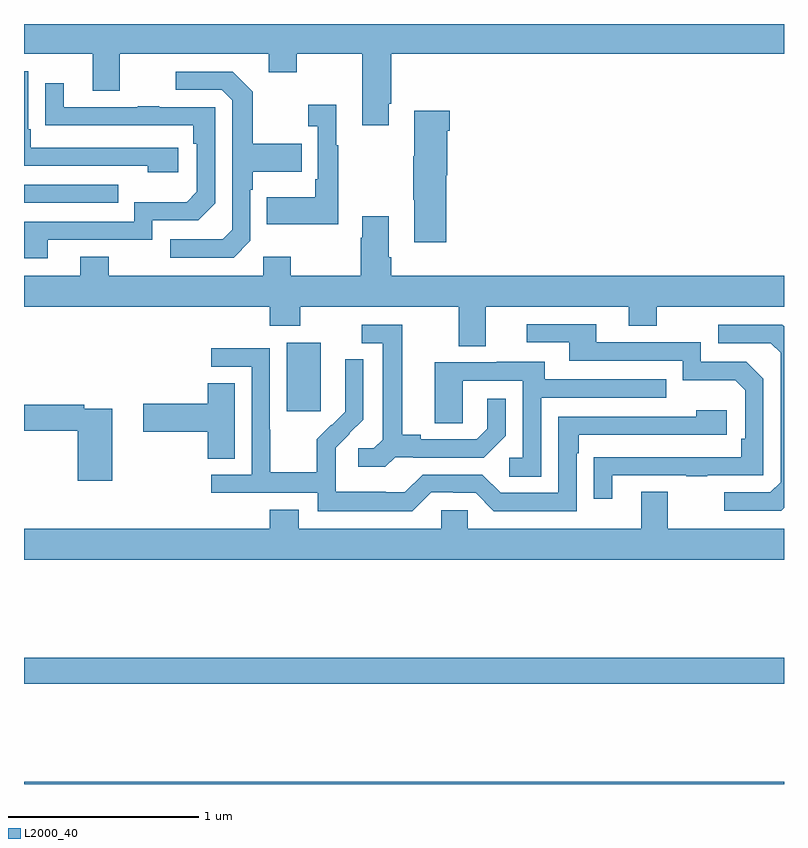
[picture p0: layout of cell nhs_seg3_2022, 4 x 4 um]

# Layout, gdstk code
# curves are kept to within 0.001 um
import gdstk
lib = gdstk.Library(unit=1e-6, precision=1e-09)
def R(c, l, rs):  # rectangles x0, y0, x1, y1
    for r in rs: c.add(gdstk.rectangle(r[:2], r[2:], *l))
def P(c, l, *ps):  # polygons
    for p in ps: c.add(gdstk.Polygon(p, *l))
L2000_40 = (2000, 40)

nhs_seg3_2022 = lib.new_cell('nhs_seg3_2022')
R(nhs_seg3_2022, L2000_40, [(215,702.4,219,702.412), (215,702.928,219,703.064), (216.383,704.361,216.562,704.722), (215,705.459,215.495,705.555)])
P(nhs_seg3_2022, L2000_40, [(215,706.244),(215.363,706.244),(215.363,706.05),(215.503,706.05),(215.503,706.244),(216.287,706.244),(216.287,706.145),(216.435,706.145),(216.435,706.244),(216.779,706.244),(216.779,705.867),(216.919,705.867),(216.919,705.979),(216.932,705.979),(216.932,706.244),(219,706.244),(219,706.4),(215,706.4)],
  [(215.812,705.75),(215.035,705.75),(215.035,705.847),(215.022,705.847),(215.022,706.152),(215,706.152),(215,705.654),(215.651,705.654),(215.651,705.62),(215.812,705.62)],
  [(216.192,705.258),(216.192,705.527),(216.205,705.527),(216.205,705.623),(216.461,705.623),(216.461,705.771),(216.205,705.771),(216.205,706.043),(216.099,706.149),(215.799,706.149),(215.799,706.053),(216.042,706.053),(216.096,705.999),(216.096,705.318),(216.045,705.267),(215.769,705.267),(215.769,705.171),(216.105,705.171)],
  [(215.125,705.264),(215.676,705.264),(215.676,705.366),(215.916,705.366),(216.006,705.456),(216.006,705.963),(215.711,705.963),(215.711,705.968),(215.599,705.968),(215.599,705.963),(215.209,705.963),(215.209,706.087),(215.113,706.087),(215.113,705.868),(215.89,705.867),(215.89,705.77),(215.91,705.77),(215.91,705.516),(215.857,705.463),(215.58,705.463),(215.58,705.36),(215,705.36),(215,705.168),(215.125,705.168)],
  [(216.655,705.763),(216.643,705.763),(216.643,705.976),(216.495,705.976),(216.495,705.863),(216.546,705.863),(216.546,705.583),(216.534,705.583),(216.534,705.487),(216.277,705.487),(216.277,705.347),(216.655,705.347)],
  [(217.223,705.603),(217.228,705.603),(217.228,705.839),(217.241,705.839),(217.241,705.943),(217.055,705.943),(217.055,705.703),(217.048,705.703),(217.048,705.475),(217.055,705.475),(217.055,705.252),(217.223,705.252)],
  [(217.429,704.912),(218.183,704.912),(218.183,704.813),(218.331,704.813),(218.331,704.912),(219,704.912),(219,705.076),(216.932,705.076),(216.932,705.172),(216.919,705.172),(216.919,705.388),(216.779,705.388),(216.779,705.275),(216.772,705.275),(216.772,705.076),(216.405,705.076),(216.405,705.175),(216.258,705.175),(216.258,705.076),(215.445,705.076),(215.445,705.175),(215.297,705.175),(215.297,705.076),(215,705.076),(215,704.912),(216.293,704.912),(216.293,704.813),(216.453,704.813),(216.453,704.912),(217.289,704.912),(217.289,704.704),(217.429,704.704)],
  [(218.095,704.025),(218.485,704.025),(218.485,704.02),(218.597,704.02),(218.597,704.025),(218.892,704.025),(218.892,704.532),(218.802,704.622),(218.562,704.622),(218.562,704.724),(218.011,704.724),(218.011,704.82),(217.647,704.82),(217.647,704.724),(217.871,704.724),(217.871,704.628),(218.466,704.628),(218.466,704.525),(218.743,704.525),(218.796,704.472),(218.796,704.218),(218.776,704.218),(218.776,704.121),(217.999,704.12),(217.999,703.902),(218.095,703.902)],
  [(219,703.854),(219,704.808),(218.991,704.817),(218.655,704.817),(218.655,704.721),(218.931,704.721),(218.982,704.67),(218.982,703.989),(218.928,703.935),(218.685,703.935),(218.685,703.839),(218.985,703.839)],
  [(216.954,704.121),(217.048,704.121),(217.048,704.118),(217.42,704.118),(217.536,704.234),(217.536,704.428),(217.439,704.428),(217.439,704.271),(217.382,704.214),(217.087,704.214),(217.087,704.237),(216.991,704.237),(216.991,704.817),(216.777,704.817),(216.777,704.721),(216.887,704.721),(216.887,704.213),(216.84,704.166),(216.759,704.166),(216.759,704.069),(216.902,704.069)],
  [(217.143,703.935),(217.259,703.935),(217.259,703.932),(217.377,703.932),(217.473,703.836),(217.908,703.836),(217.908,704.141),(217.921,704.141),(217.921,704.238),(218.698,704.238),(218.698,704.368),(218.537,704.368),(218.537,704.334),(217.812,704.334),(217.812,703.932),(217.509,703.932),(217.413,704.028),(217.098,704.028),(217.005,703.935),(216.905,703.935),(216.905,703.939),(216.642,703.939),(216.642,704.073),(216.64,704.073),(216.64,704.17),(216.786,704.318),(216.786,704.636),(216.69,704.636),(216.69,704.482),(216.692,704.482),(216.692,704.36),(216.621,704.289),(216.618,704.292),(216.541,704.215),(216.541,704.041),(216.297,704.041),(216.297,704.264),(216.294,704.264),(216.294,704.694),(215.985,704.694),(215.985,704.595),(216.198,704.595),(216.198,704.028),(215.985,704.028),(215.985,703.932),(216.546,703.932),(216.546,703.835),(217.043,703.835)],
  [(217.722,704.433),(218.381,704.433),(218.381,704.529),(217.741,704.529),(217.741,704.623),(217.487,704.623),(217.487,704.619),(217.163,704.619),(217.163,704.299),(217.308,704.299),(217.308,704.523),(217.626,704.523),(217.626,704.118),(217.554,704.118),(217.554,704.017),(217.722,704.017)],
  [(216.109,704.51),(215.966,704.51),(215.966,704.402),(215.628,704.402),(215.628,704.255),(215.966,704.255),(215.966,704.113),(216.109,704.113)],
  [(215.465,704.376),(215.318,704.376),(215.318,704.396),(215,704.396),(215,704.26),(215.282,704.26),(215.282,703.995),(215.465,703.995)],
  [(219,703.744),(218.389,703.744),(218.389,703.939),(218.249,703.939),(218.249,703.744),(217.335,703.744),(217.335,703.842),(217.197,703.842),(217.197,703.744),(216.445,703.744),(216.445,703.843),(216.293,703.843),(216.293,703.744),(215,703.744),(215,703.58),(219,703.58)])

lib.write_gds('nhs_seg3_2022.gds')
